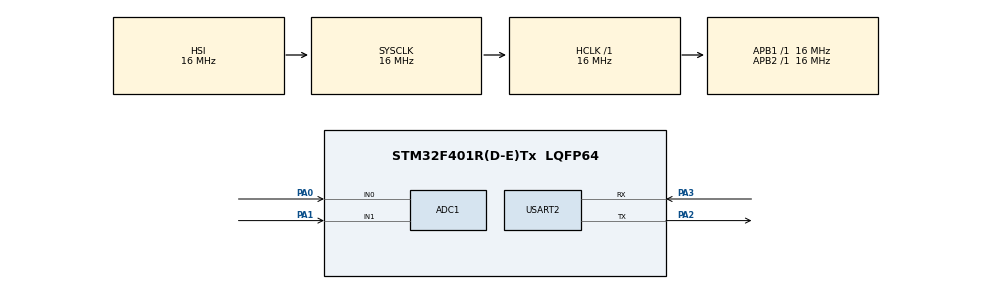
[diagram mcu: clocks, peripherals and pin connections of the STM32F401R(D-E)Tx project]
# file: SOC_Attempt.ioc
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ADC1.Channel-0\#ChannelRegularConversion=ADC_CHANNEL_0
ADC1.Channel-1\#ChannelRegularConversion=ADC_CHANNEL_0
ADC1.NbrOfConversion=2
ADC1.NbrOfConversionFlag=1
ADC1.Rank-0\#ChannelRegularConversion=1
ADC1.Rank-1\#ChannelRegularConversion=2
ADC1.SamplingTime-0\#ChannelRegularConversion=ADC_SAMPLETIME_480CYCLES
ADC1.SamplingTime-1\#ChannelRegularConversion=ADC_SAMPLETIME_480CYCLES
ADC1.ScanConvMode=ENABLE
ADC1.master=1
Dma.ADC1.0.Direction=DMA_PERIPH_TO_MEMORY
Dma.ADC1.0.FIFOMode=DMA_FIFOMODE_DISABLE
Dma.ADC1.0.Instance=DMA2_Stream0
Dma.ADC1.0.MemDataAlignment=DMA_MDATAALIGN_HALFWORD
Dma.ADC1.0.MemInc=DMA_MINC_ENABLE
Dma.ADC1.0.Mode=DMA_CIRCULAR
Dma.ADC1.0.PeriphDataAlignment=DMA_PDATAALIGN_HALFWORD
Dma.ADC1.0.PeriphInc=DMA_PINC_DISABLE
Dma.ADC1.0.Priority=DMA_PRIORITY_LOW
Dma.Request0=ADC1
Mcu.Family=STM32F4
Mcu.Name=STM32F401R(D-E)Tx
Mcu.Package=LQFP64
NVIC.ADC_IRQn=true\:1\:0\:true\:false\:true\:true\:true\:true
NVIC.DMA2_Stream0_IRQn=true\:0\:0\:false\:false\:true\:false\:true\:true
NVIC.PriorityGroup=NVIC_PRIORITYGROUP_4
PA0-WKUP.Signal=ADCx_IN0
PA1.Signal=ADCx_IN1
PA2.Mode=Asynchronous
PA2.Signal=USART2_TX
PA3.Mode=Asynchronous
PA3.Signal=USART2_RX
ProjectManager.HeapSize=0x200
ProjectManager.StackSize=0x400
ProjectManager.TargetToolchain=STM32CubeIDE
RCC.AHBFreq_Value=16000000
RCC.APB1Freq_Value=16000000
RCC.APB2Freq_Value=16000000
RCC.CortexFreq_Value=16000000
RCC.HSE_VALUE=25000000
RCC.HSI_VALUE=16000000
RCC.LSE_VALUE=32768
RCC.SYSCLKFreq_VALUE=16000000
RCC.VCOOutputFreq_Value=192000000
SH.ADCx_IN0.0=ADC1_IN0,IN0
SH.ADCx_IN1.0=ADC1_IN1,IN1
USART2.VirtualMode=VM_ASYNC
board=custom

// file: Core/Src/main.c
/* USER CODE BEGIN Header */
/**
  ******************************************************************************
  * @file           : main.c
  * @brief          : Main program body
  ******************************************************************************
  * @attention
  *
  * Copyright (c) 2024 STMicroelectronics.
  * All rights reserved.
  *
  * This software is licensed under terms that can be found in the LICENSE file
  * in the root directory of this software component.
  * If no LICENSE file comes with this software, it is provided AS-IS.
  *
  ******************************************************************************
  */
/* USER CODE END Header */
#include "main.h"

/* USER CODE BEGIN Includes */
#include "BatterySOCEstimation.h"
#include <stdio.h>
#include <string.h>
/* USER CODE END Includes */

ADC_HandleTypeDef hadc1;
DMA_HandleTypeDef hdma_adc1;

UART_HandleTypeDef huart2;

/* USER CODE BEGIN PV */
uint16_t currentAnalog = 0;
uint16_t ocvAnalog = 0;

uint16_t rawValues[2];
char msg[20];

// Define the external inputs and outputs
extern ExtU rtU;  // External inputs
extern ExtY rtY;  // External outputs
/* USER CODE END PV */

void SystemClock_Config(void);
static void MX_GPIO_Init(void);
static void MX_DMA_Init(void);
static void MX_ADC1_Init(void);
static void MX_USART2_UART_Init(void);

/* USER CODE BEGIN 0 */
uint8_t convCompleted = 0;

void HAL_ADC_ConvCpltCallback(ADC_HandleTypeDef *hadc)
{
	convCompleted =1;
}

/* USER CODE END 0 */

int main(void)
{

  /* MCU Configuration--------------------------------------------------------*/

  /* Reset of all peripherals, Initializes the Flash interface and the Systick. */
  HAL_Init();

  /* USER CODE BEGIN Init */
  BatterySOCEstimation_initialize();

	// Set initial values for the inputs
	rtU.InitialSOC = 0.8;   // Example initial State of Charge
	rtU.CellTemp = 25.0;    // Example cell temperature in degrees Celsius
	rtU.CellVoltage = 3.7;  // Example cell voltage
	rtU.Current = 1.5;      // Example current

  /* USER CODE END Init */

  /* Configure the system clock */
  SystemClock_Config();

  /* Initialize all configured peripherals */
  MX_GPIO_Init();
  MX_DMA_Init();
  MX_ADC1_Init();
  MX_USART2_UART_Init();
  /* USER CODE BEGIN 2 */
  HAL_ADC_Start_DMA(&hadc1, (uint32_t *) rawValues, 2);
  /* USER CODE END 2 */

  /* Infinite loop */
  while (1)
  {

    /* USER CODE BEGIN 3 */
		while(!convCompleted);

		for(uint8_t i = 0; i < hadc1.Init.NbrOfConversion; i++)
		{
			currentAnalog = (uint16_t)rawValues[0]; // stores variables coming from PA0
			ocvAnalog = (uint16_t)rawValues[1]; // stores variables coming from PA1
		}

		if(HAL_GPIO_ReadPin(relayTrigger_GPIO_Port, relayInput_Pin))
		{
			HAL_GPIO_WritePin(relayInput_GPIO_Port, relayTrigger_Pin, GPIO_PIN_SET);
			HAL_Delay(1000); // delay to let relay switch
			for(uint8_t i = 0; i < hadc1.Init.NbrOfConversion; i++)
			{
				// currentAnalog = (uint16_t)rawValues[0]; // stores variables coming from PA0
				ocvAnalog = (uint16_t)rawValues[1]; // stores variables coming from PA1
			}
			HAL_GPIO_WritePin(relayInput_GPIO_Port, relayTrigger_Pin, GPIO_PIN_RESET);
		}

		//kalman
		BatterySOCEstimation_step();

		// Retrieve the output (SOC estimation)
		double estimatedSOC = rtY.Out1;

		// Clear the message buffer before writing
		memset(msg, 0, sizeof(msg));
		snprintf(msg, sizeof(msg), "New Current: %hu\r\n", currentAnalog);
		HAL_UART_Transmit(&huart2, (uint8_t *)msg, strlen(msg), HAL_MAX_DELAY);

		// Clear the message buffer before writing
		memset(msg, 0, sizeof(msg));
		snprintf(msg, sizeof(msg), "New Voltage: %hu\r\n", ocvAnalog);
		HAL_UART_Transmit(&huart2, (uint8_t *)msg, strlen(msg), HAL_MAX_DELAY);

		HAL_Delay(1000);

  }
  /* USER CODE END 3 */
}

void SystemClock_Config(void)
{
  RCC_OscInitTypeDef RCC_OscInitStruct = {0};
  RCC_ClkInitTypeDef RCC_ClkInitStruct = {0};

  /** Configure the main internal regulator output voltage
  */
  __HAL_RCC_PWR_CLK_ENABLE();
  __HAL_PWR_VOLTAGESCALING_CONFIG(PWR_REGULATOR_VOLTAGE_SCALE2);

  /** Initializes the RCC Oscillators according to the specified parameters
  * in the RCC_OscInitTypeDef structure.
  */
  RCC_OscInitStruct.OscillatorType = RCC_OSCILLATORTYPE_HSI;
  RCC_OscInitStruct.HSIState = RCC_HSI_ON;
  RCC_OscInitStruct.HSICalibrationValue = RCC_HSICALIBRATION_DEFAULT;
  RCC_OscInitStruct.PLL.PLLState = RCC_PLL_NONE;
  if (HAL_RCC_OscConfig(&RCC_OscInitStruct) != HAL_OK)
  {
    Error_Handler();
  }

  /** Initializes the CPU, AHB and APB buses clocks
  */
  RCC_ClkInitStruct.ClockType = RCC_CLOCKTYPE_HCLK|RCC_CLOCKTYPE_SYSCLK
                              |RCC_CLOCKTYPE_PCLK1|RCC_CLOCKTYPE_PCLK2;
  RCC_ClkInitStruct.SYSCLKSource = RCC_SYSCLKSOURCE_HSI;
  RCC_ClkInitStruct.AHBCLKDivider = RCC_SYSCLK_DIV1;
  RCC_ClkInitStruct.APB1CLKDivider = RCC_HCLK_DIV1;
  RCC_ClkInitStruct.APB2CLKDivider = RCC_HCLK_DIV1;

  if (HAL_RCC_ClockConfig(&RCC_ClkInitStruct, FLASH_LATENCY_0) != HAL_OK)
  {
    Error_Handler();
  }
}

static void MX_ADC1_Init(void)
{

  ADC_ChannelConfTypeDef sConfig = {0};

  /** Configure the global features of the ADC (Clock, Resolution, Data Alignment and number of conversion)
  */
  hadc1.Instance = ADC1;
  hadc1.Init.ClockPrescaler = ADC_CLOCK_SYNC_PCLK_DIV2;
  hadc1.Init.Resolution = ADC_RESOLUTION_12B;
  hadc1.Init.ScanConvMode = ENABLE;
  hadc1.Init.ContinuousConvMode = ENABLE;
  hadc1.Init.DiscontinuousConvMode = DISABLE;
  hadc1.Init.ExternalTrigConvEdge = ADC_EXTERNALTRIGCONVEDGE_NONE;
  hadc1.Init.ExternalTrigConv = ADC_SOFTWARE_START;
  hadc1.Init.DataAlign = ADC_DATAALIGN_RIGHT;
  hadc1.Init.NbrOfConversion = 2;
  hadc1.Init.DMAContinuousRequests = ENABLE;
  hadc1.Init.EOCSelection = ADC_EOC_SINGLE_CONV;
  if (HAL_ADC_Init(&hadc1) != HAL_OK)
  {
    Error_Handler();
  }

  /** Configure for the selected ADC regular channel its corresponding rank in the sequencer and its sample time.
  */
  sConfig.Channel = ADC_CHANNEL_0;
  sConfig.Rank = 1;
  sConfig.SamplingTime = ADC_SAMPLETIME_480CYCLES;
  if (HAL_ADC_ConfigChannel(&hadc1, &sConfig) != HAL_OK)
  {
    Error_Handler();
  }

  /** Configure for the selected ADC regular channel its corresponding rank in the sequencer and its sample time.
  */
  sConfig.Channel = ADC_CHANNEL_1; // PA1
  sConfig.Rank = 2;
  if (HAL_ADC_ConfigChannel(&hadc1, &sConfig) != HAL_OK)
  {
    Error_Handler();
  }

}

static void MX_USART2_UART_Init(void)
{

  huart2.Instance = USART2;
  huart2.Init.BaudRate = 115200;
  huart2.Init.WordLength = UART_WORDLENGTH_8B;
  huart2.Init.StopBits = UART_STOPBITS_1;
  huart2.Init.Parity = UART_PARITY_NONE;
  huart2.Init.Mode = UART_MODE_TX_RX;
  huart2.Init.HwFlowCtl = UART_HWCONTROL_NONE;
  huart2.Init.OverSampling = UART_OVERSAMPLING_16;
  if (HAL_UART_Init(&huart2) != HAL_OK)
  {
    Error_Handler();
  }

}

static void MX_DMA_Init(void)
{

  /* DMA controller clock enable */
  __HAL_RCC_DMA2_CLK_ENABLE();

  /* DMA interrupt init */
  /* DMA2_Stream0_IRQn interrupt configuration */
  HAL_NVIC_SetPriority(DMA2_Stream0_IRQn, 0, 0);
  HAL_NVIC_EnableIRQ(DMA2_Stream0_IRQn);

}

static void MX_GPIO_Init(void)
{

  /* GPIO Ports Clock Enable */
  __HAL_RCC_GPIOA_CLK_ENABLE();

}

void Error_Handler(void)
{
  __disable_irq();
  while (1)
  {
  }
}
